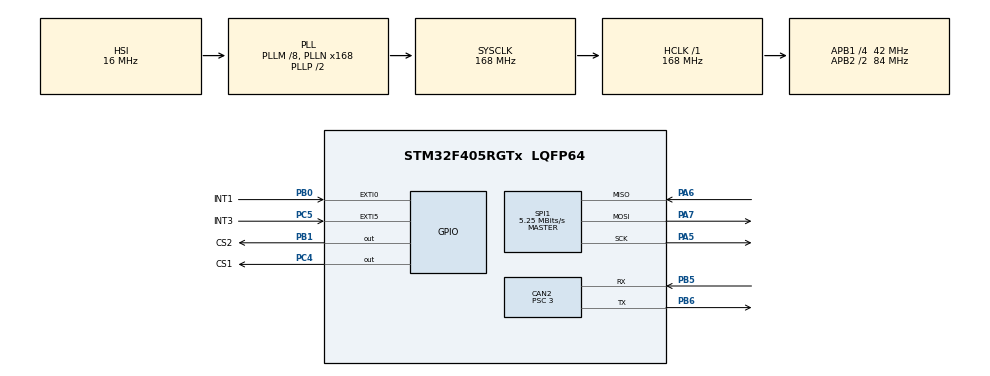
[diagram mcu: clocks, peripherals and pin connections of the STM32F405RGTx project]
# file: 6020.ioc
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CAN2.ABOM=ENABLE
CAN2.AWUM=ENABLE
CAN2.BS1=CAN_BS1_10TQ
CAN2.BS2=CAN_BS2_3TQ
CAN2.CalculateBaudRate=1000000
CAN2.CalculateTimeBit=1000
CAN2.CalculateTimeQuantum=71.42857142857143
CAN2.NART=ENABLE
CAN2.Prescaler=3
Dma.Request0=SPI1_RX
Dma.Request1=SPI1_TX
Dma.SPI1_RX.0.Direction=DMA_PERIPH_TO_MEMORY
Dma.SPI1_RX.0.FIFOMode=DMA_FIFOMODE_DISABLE
Dma.SPI1_RX.0.Instance=DMA2_Stream2
Dma.SPI1_RX.0.MemDataAlignment=DMA_MDATAALIGN_BYTE
Dma.SPI1_RX.0.MemInc=DMA_MINC_ENABLE
Dma.SPI1_RX.0.Mode=DMA_NORMAL
Dma.SPI1_RX.0.PeriphDataAlignment=DMA_PDATAALIGN_BYTE
Dma.SPI1_RX.0.PeriphInc=DMA_PINC_DISABLE
Dma.SPI1_RX.0.Priority=DMA_PRIORITY_VERY_HIGH
Dma.SPI1_TX.1.Direction=DMA_MEMORY_TO_PERIPH
Dma.SPI1_TX.1.FIFOMode=DMA_FIFOMODE_DISABLE
Dma.SPI1_TX.1.Instance=DMA2_Stream3
Dma.SPI1_TX.1.MemDataAlignment=DMA_MDATAALIGN_BYTE
Dma.SPI1_TX.1.MemInc=DMA_MINC_ENABLE
Dma.SPI1_TX.1.Mode=DMA_NORMAL
Dma.SPI1_TX.1.PeriphDataAlignment=DMA_PDATAALIGN_BYTE
Dma.SPI1_TX.1.PeriphInc=DMA_PINC_DISABLE
Dma.SPI1_TX.1.Priority=DMA_PRIORITY_HIGH
Mcu.Family=STM32F4
Mcu.Name=STM32F405RGTx
Mcu.Package=LQFP64
NVIC.CAN2_RX0_IRQn=true\:0\:0\:false\:false\:true\:true\:true\:true
NVIC.CAN2_TX_IRQn=true\:0\:0\:false\:false\:true\:true\:true\:true
NVIC.DMA2_Stream2_IRQn=true\:0\:0\:false\:false\:true\:false\:true\:true
NVIC.DMA2_Stream3_IRQn=true\:0\:0\:false\:false\:true\:false\:true\:true
NVIC.PriorityGroup=NVIC_PRIORITYGROUP_4
PA13.Mode=Serial_Wire
PA13.Signal=SYS_JTMS-SWDIO
PA14.Mode=Serial_Wire
PA14.Signal=SYS_JTCK-SWCLK
PA5.Mode=Full_Duplex_Master
PA5.Signal=SPI1_SCK
PA6.Mode=Full_Duplex_Master
PA6.Signal=SPI1_MISO
PA7.Mode=Full_Duplex_Master
PA7.Signal=SPI1_MOSI
PB0.GPIO_Label=INT1
PB0.GPIO_ModeDefaultEXTI=GPIO_MODE_IT_FALLING
PB0.GPIO_PuPd=GPIO_PULLUP
PB0.Signal=GPXTI0
PB1.GPIO_Label=CS2
PB1.GPIO_PuPd=GPIO_PULLUP
PB1.GPIO_Speed=GPIO_SPEED_FREQ_HIGH
PB1.PinState=GPIO_PIN_SET
PB1.Signal=GPIO_Output
PB5.Mode=CAN_Activate
PB5.Signal=CAN2_RX
PB6.Mode=CAN_Activate
PB6.Signal=CAN2_TX
PC4.GPIO_Label=CS1
PC4.GPIO_PuPd=GPIO_PULLUP
PC4.GPIO_Speed=GPIO_SPEED_FREQ_HIGH
PC4.PinState=GPIO_PIN_SET
PC4.Signal=GPIO_Output
PC5.GPIO_Label=INT3
PC5.GPIO_ModeDefaultEXTI=GPIO_MODE_IT_FALLING
PC5.GPIO_PuPd=GPIO_PULLUP
PC5.Signal=GPXTI5
PH0-OSC_IN.Mode=HSE-External-Oscillator
PH0-OSC_IN.Signal=RCC_OSC_IN
PH1-OSC_OUT.Mode=HSE-External-Oscillator
PH1-OSC_OUT.Signal=RCC_OSC_OUT
ProjectManager.HeapSize=0x200
ProjectManager.StackSize=0x400
ProjectManager.TargetToolchain=CMake
RCC.48MHZClocksFreq_Value=84000000
RCC.AHBFreq_Value=168000000
RCC.APB1CLKDivider=RCC_HCLK_DIV4
RCC.APB1Freq_Value=42000000
RCC.APB1TimFreq_Value=84000000
RCC.APB2CLKDivider=RCC_HCLK_DIV2
RCC.APB2Freq_Value=84000000
RCC.APB2TimFreq_Value=168000000
RCC.CortexFreq_Value=168000000
RCC.HCLKFreq_Value=168000000
RCC.HSE_VALUE=8000000
RCC.HSI_VALUE=16000000
RCC.LSE_VALUE=32768
RCC.PLLM=8
RCC.PLLN=168
RCC.SYSCLKFreq_VALUE=168000000
RCC.SYSCLKSource=RCC_SYSCLKSOURCE_PLLCLK
RCC.VCOOutputFreq_Value=336000000
SPI1.BaudRatePrescaler=SPI_BAUDRATEPRESCALER_16
SPI1.CLKPhase=SPI_PHASE_2EDGE
SPI1.CLKPolarity=SPI_POLARITY_HIGH
SPI1.CalculateBaudRate=5.25 MBits/s
SPI1.Direction=SPI_DIRECTION_2LINES
SPI1.Mode=SPI_MODE_MASTER
SPI1.VirtualType=VM_MASTER
board=custom

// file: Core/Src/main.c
/* USER CODE BEGIN Header */
/**
  ******************************************************************************
  * @file           : main.c
  * @brief          : Main program body
  ******************************************************************************
  * @attention
  *
  * Copyright (c) 2026 STMicroelectronics.
  * All rights reserved.
  *
  * This software is licensed under terms that can be found in the LICENSE file
  * in the root directory of this software component.
  * If no LICENSE file comes with this software, it is provided AS-IS.
  *
  ******************************************************************************
  */
/* USER CODE END Header */
#include "main.h"
#include "can.h"
#include "dma.h"
#include "spi.h"
#include "gpio.h"

/* USER CODE BEGIN Includes */

#include "stdio.h"
#include "stdarg.h"
#include "math.h"
#include "bsp_can.h"
#include "module_pid.h"
#include "BMI088driver.h"
#include "MahonyAHRS.h"
#include "AKF.h"   /* Gyro_AKF_HandleTypeDef / Gyro_AKF_Init / Gyro_AKF_Update */
#include "Config.h"     /* ParticleFilter_t / pf_* */

/* USER CODE END Includes */

/* USER CODE BEGIN PM */

extern moto_info_t motor_info[MOTOR_MAX_NUM];

#define OPEN_LOOP_TEST    0
#define OPEN_LOOP_VOLTAGE 5000

/* ===== 电机索引 ===================================================== */
#define MOTOR2_IDX  2   /* Yaw 轴 */
#define MOTOR4_IDX  4   /* Pitch 轴 */

/* ===== IMU 参数 ===================================================== */
/*
 *  GYRO_CALIB_MS      上电静止校准时长（ms）
 *                     校准期间同时用 Welford 算法在线计算三轴方差，
 *                     作为 AKF 的量测噪声方差 R0，无需手动填写。
 *  ACCEL_VALID_MIN/MAX 加速度幅值门限（m/s²）
 *                     超出范围时跳过加速度纠正，避免振动/冲击干扰。
 */
#define GYRO_CALIB_MS    2000    /* 2 秒 = 200 次采样（10ms/次）*/
#define ACCEL_VALID_MIN   5.0f  /* 约 0.82g */
#define ACCEL_VALID_MAX  15.0f  /* 约 1.12g */

/* ===== AKF 初始化参数 =============================================== */
/*
 *  AKF_P0   初始协方差（推荐 1.0）
 *  AKF_Q0   初始系统噪声方差（后续自适应，初值影响不大）
 *  R0 由校准阶段 Welford 在线计算，无需手动设置
 */
#define AKF_P0  1.0f
#define AKF_Q0  1e-7f

/* ===== 粒子滤波参数 ================================================= */
/*
 *  PF_NEFF_THRESH   有效粒子数阈值，低于此值触发重采样
 *                   推荐 PF_PARTICLE_NUM / 2
 */
#define PF_NEFF_THRESH  (PF_PARTICLE_NUM / 2.0f)

/* ===== 正弦扫描参数 ================================================= */
#define SCAN_AMP       30.0f
#define SCAN_FREQ       0.1f
#define SPEED_FF_GAIN   1.0f
#define HOMING_SPEED   20.0f
#define HOMING_THRESH   3.0f

/* ===== 归零参数 =====================================================
 *
 *  RTZ_PITCH_THRESH  Pitch 到位门限（°），IMU pitch 误差小于此值视为到位
 *  RTZ_YAW_THRESH    Yaw   到位门限（°），IMU yaw  误差小于此值视为到位
 *
 *  RTZ_PITCH_SPD_MAX 外环输出限幅（°/s），决定 Pitch 归零最大速度
 *  RTZ_YAW_SPD_MAX   外环输出限幅（°/s），决定 Yaw   归零最大速度
 *                    调小此值可以让归零过程更缓慢，推荐 20~50 °/s
 *
 *  两轴均以 IMU 输出为反馈，目标均为 0°：
 *    Pitch（MOTOR4）→ IMU pitch = 0°（真实水平）
 *    Yaw  （MOTOR2）→ IMU yaw   = 0°（上电校准时的正前方方向）
 *
 *  归零到位后重新记录编码器零点，使扫描段基准与归零位置对齐。
 * ================================================================== */
#define RTZ_PITCH_THRESH   2.0f
#define RTZ_YAW_THRESH     2.0f
#define RTZ_PITCH_SPD_MAX 30.0f   /* °/s，调小可更缓慢 */
#define RTZ_YAW_SPD_MAX   30.0f   /* °/s，调小可更缓慢 */

/* ===== PID 参数 ===================================================== */
#define ANGLE_KP        10.0f
#define ANGLE_KI        0.05f
#define ANGLE_KD        0.4f
#define ANGLE_I_MAX    40.0f
#define ANGLE_OUT_MAX 250.0f

#define SPEED_KP      100.0f
#define SPEED_KI        0.5f
#define SPEED_KD        0.3f
#define SPEED_I_MAX  4000.0f
#define SPEED_OUT_MAX 10000.0f//25000

#define LPF_ALPHA  0.8f

/* 每个电机独立的 PID */
pid_struct_t angle_pid2, angle_pid4;
pid_struct_t speed_pid2, speed_pid4;

/* ===== 控制状态机 ===================================================
 *
 *  STATE_RTZ     上电归零：
 *                  Pitch（MOTOR4）用 IMU pitch 闭环到 0°（真实水平）
 *                  Yaw  （MOTOR2）用 IMU yaw   闭环到 0°（上电正前方）
 *                  外环输出限幅为 RTZ_*_SPD_MAX，保证缓慢运动
 *                  两轴均到位后清空 PID 积分，重记编码器零点，
 *                  切换到 STATE_HOMING
 *
 *  STATE_HOMING  归位：虚拟目标 prof_pos 缓慢收敛到 0，编码器跟随
 *
 *  STATE_SCAN    扫描：正弦轨迹
 *
 *  dbg_state：0=归零  1=归位  2=扫描
 * ================================================================== */
typedef enum {
  STATE_RTZ    = 0,
  STATE_HOMING = 1,
  STATE_SCAN   = 2
} ctrl_state_t;

ctrl_state_t ctrl_state = STATE_RTZ;   /* 全局唯一状态，两轴共用 */

float prof_pos   = 0.0f;
float scan_phase = 0.0f;
float dbg_spd_ff = 0.0f;

float filtered_spd2 = 0.0f;
float filtered_spd4 = 0.0f;

uint16_t zero_enc2 = 0;
uint16_t zero_enc4 = 0;

/* ===== Ozone 观测变量 ===============================================
 *
 *  电机相关：
 *    dbg_angle2 / dbg_angle4      当前编码器角度（°）
 *    dbg_prof                     虚拟目标（扫描段）
 *    dbg_err2 / dbg_err4          外环误差
 *    dbg_voltage2 / dbg_voltage4  输出电压
 *    dbg_state                    0=归零  1=归位  2=扫描
 *
 *  BMI088 原始读出（BMI088_read 直接输出，未做任何处理）：
 *    dbg_gyro_x/y/z               rad/s
 *    dbg_accel_x/y/z              m/s²
 *    dbg_temp                     °C
 *    dbg_imu_error                0=初始化正常
 *
 *  AKF 滤波后陀螺仪（与原始值对比用）：
 *    dbg_gx_akf / dbg_gy_akf / dbg_gz_akf    rad/s
 *
 *  Mahony 输出（PF 之前，用于对比）：
 *    dbg_roll_mahony / dbg_pitch_mahony        °
 *    dbg_yaw                                   °（不经 PF，直接输出）
 *
 *  偏置补偿后最终输出（接入控制用此值）：
 *    dbg_pitch / dbg_roll                      °
 *
 *  校准信息：
 *    dbg_calib_samples            已采集样本数
 *    dbg_r0_gx / dbg_r0_gy / dbg_r0_gz   AKF 三轴 R0（方差）
 *
 *  安装偏置（校准结束时自动记录，Ozone 可观测）：
 *    dbg_pitch_offset / dbg_roll_offset        °
 *
 * ================================================================== */
volatile float   dbg_angle2       = 0.0f;
volatile float   dbg_angle4       = 0.0f;
volatile float   dbg_prof         = 0.0f;
volatile float   dbg_err2         = 0.0f;
volatile float   dbg_err4         = 0.0f;
volatile float   dbg_voltage2     = 0.0f;
volatile float   dbg_voltage4     = 0.0f;
volatile int     dbg_state        = 0;

volatile fp32    dbg_gyro_x       = 0.0f;
volatile fp32    dbg_gyro_y       = 0.0f;
volatile fp32    dbg_gyro_z       = 0.0f;
volatile fp32    dbg_accel_x      = 0.0f;
volatile fp32    dbg_accel_y      = 0.0f;
volatile fp32    dbg_accel_z      = 0.0f;
volatile fp32    dbg_temp         = 0.0f;
volatile uint8_t dbg_imu_error    = 0;

volatile float   dbg_gx_akf       = 0.0f;
volatile float   dbg_gy_akf       = 0.0f;
volatile float   dbg_gz_akf       = 0.0f;

volatile float   dbg_roll_mahony  = 0.0f;
volatile float   dbg_pitch_mahony = 0.0f;
volatile float   dbg_roll         = 0.0f;
volatile float   dbg_pitch        = 0.0f;
volatile float   dbg_yaw          = 0.0f;

volatile int     dbg_calib_samples = 0;
volatile float   dbg_r0_gx        = 0.0f;
volatile float   dbg_r0_gy        = 0.0f;
volatile float   dbg_r0_gz        = 0.0f;

/* 安装偏置（校准结束时自动记录，Ozone 可观测验证） */
volatile float   dbg_pitch_offset = 0.0f;
volatile float   dbg_roll_offset  = 0.0f;

/* 陀螺仪零偏（校准均值） */
float gyro_bias[3] = {0.0f, 0.0f, 0.0f};

volatile int imu_calib_done = 0;

/* ===== IMU 安装偏置（校准结束时由加速度计自动计算）================= */
/*
 *  上电时云台停在编码器零点，校准结束后记录此刻 IMU 输出的 pitch/roll，
 *  运行段每帧减掉，使 IMU 零点与编码器零点对齐。
 *  无需手动填写，每次上电自动更新。
 */
float imu_pitch_offset = 0.0f;
float imu_roll_offset  = 0.0f;

/* ===== AKF 实例（三轴各一个）======================================= */
Gyro_AKF_HandleTypeDef akf_gx, akf_gy, akf_gz;

/* ===== 粒子滤波实例 ================================================= */
ParticleFilter_t pf;

/* USER CODE END PM */

void SystemClock_Config(void);

/* USER CODE BEGIN 0 */

/* 编码器原始值 → 角度（以各自零点为 0°） */
float enc_to_angle(uint16_t enc, uint16_t zero)
{
  int32_t diff = (int32_t)enc - (int32_t)zero;
  if      (diff >  4096) diff -= 8192;
  else if (diff < -4096) diff += 8192;
  return (float)diff * 360.0f / 8192.0f;
}

/* 角度误差计算（处理 ±180° 翻转） */
float angle_err_calc(float target, float current)
{
  float e = target - current;
  if      (e >  180.0f) e -= 360.0f;
  else if (e < -180.0f) e += 360.0f;
  return e;
}

/* USER CODE END 0 */

int main(void)
{

  /* MCU Configuration -------------------------------------------------------*/

  HAL_Init();

  SystemClock_Config();

  MX_GPIO_Init();
  MX_DMA_Init();
  MX_CAN2_Init();
  MX_SPI1_Init();

  /* USER CODE BEGIN 2 */

  can_user_init(&hcan2);

  pid_init(&angle_pid2, ANGLE_KP, ANGLE_KI, ANGLE_KD, ANGLE_I_MAX, ANGLE_OUT_MAX);
  pid_init(&speed_pid2, SPEED_KP, SPEED_KI, SPEED_KD, SPEED_I_MAX, SPEED_OUT_MAX);
  pid_init(&angle_pid4, ANGLE_KP, ANGLE_KI, ANGLE_KD, ANGLE_I_MAX, ANGLE_OUT_MAX);
  pid_init(&speed_pid4, SPEED_KP, SPEED_KI, SPEED_KD, SPEED_I_MAX, SPEED_OUT_MAX);

  /* BMI088 初始化 */
  dbg_imu_error = BMI088_init();

  /* 等第一帧 CAN 数据到达 */
  HAL_Delay(100);

  /* 记录电机上电零点 */
  zero_enc2     = motor_info[MOTOR2_IDX].rotor_angle;
  zero_enc4     = motor_info[MOTOR4_IDX].rotor_angle;
  prof_pos      = 0.0f;
  filtered_spd2 = (float)motor_info[MOTOR2_IDX].rotor_speed;
  filtered_spd4 = (float)motor_info[MOTOR4_IDX].rotor_speed;

  /* USER CODE END 2 */

  /* Infinite loop */
  /* USER CODE BEGIN WHILE */

  /* Mahony 四元数初始值：单位四元数，表示无旋转（w,x,y,z） */
  float q[4] = {1.0f, 0.0f, 0.0f, 0.0f};

  /* PF 首帧初始化标志（等 Mahony 收敛后再初始化） */
  uint8_t pf_initialized = 0;

  while (1)
  {
    /* USER CODE END WHILE */

    /* USER CODE BEGIN 3 */

    static uint32_t last_tick = 0;
    if (HAL_GetTick() - last_tick >= 10)   /* 10ms = 100Hz，与 MahonyAHRS.c sampleFreq 一致 */
    {
      last_tick = HAL_GetTick();

      const float dt = 0.01f;

      /* ---------------------------------------------------------------- */
      /* 1. BMI088 读取                                                    */
      /* ---------------------------------------------------------------- */
      fp32 gyro[3], accel[3], temp;
      BMI088_read(gyro, accel, &temp);

      /* 原始数据挂 Ozone（未做任何处理） */
      dbg_gyro_x  = gyro[0];
      dbg_gyro_y  = gyro[1];
      dbg_gyro_z  = gyro[2];
      dbg_accel_x = accel[0];
      dbg_accel_y = accel[1];
      dbg_accel_z = accel[2];
      dbg_temp    = temp;

      /* ---------------------------------------------------------------- */
      /* 2. 上电校准（前 GYRO_CALIB_MS ms 静止）                          */
      /*    a) Welford 在线方差 → 三轴 R0（AKF 量测噪声）                 */
      /*    b) 零偏均值（200 次 double 累加）                              */
      /*    c) 校准结束：初始化三个 AKF，用加速度计均值初始化 Mahony 四元数*/
      /*       使 Mahony 从真实姿态出发积分，后续输出即为真实绝对角度      */
      /*    d) 校准结束：记录此刻欧拉角作为安装偏置，运行段减掉            */
      /*       前提：上电时云台停在编码器零点位置                          */
      /* ---------------------------------------------------------------- */
      if (!imu_calib_done)
      {
        /* 静态局部变量：整个校准期间持久化 */
        static double bias_sum[3]  = {0.0, 0.0, 0.0};  /* 陀螺零偏累加 */
        static double wf_mean[3]   = {0.0, 0.0, 0.0};  /* Welford 均值 */
        static double wf_M2[3]     = {0.0, 0.0, 0.0};  /* Welford 离均差平方和 */
        static double accel_sum[3] = {0.0, 0.0, 0.0};  /* 加速度计累加（用于初始化四元数）*/
        static int    calib_cnt    = 0;
        const  int    calib_total  = GYRO_CALIB_MS / 10; /* 200 次 */

        /* ---- a) 陀螺零偏累加 ---- */
        bias_sum[0] += (double)gyro[0];
        bias_sum[1] += (double)gyro[1];
        bias_sum[2] += (double)gyro[2];

        /* ---- b) 加速度计累加（用于校准结束时初始化 Mahony 四元数）---- */
        accel_sum[0] += (double)accel[0];
        accel_sum[1] += (double)accel[1];
        accel_sum[2] += (double)accel[2];

        /* ---- c) Welford 在线方差更新（三轴独立）→ AKF 的 R0 ---- */
        calib_cnt++;
        for (int axis = 0; axis < 3; axis++)
        {
          double val   = (double)gyro[axis];
          double delta = val - wf_mean[axis];
          wf_mean[axis] += delta / calib_cnt;
          double delta2  = val - wf_mean[axis];
          wf_M2[axis]   += delta * delta2;
        }

        dbg_calib_samples = calib_cnt;

        if (calib_cnt >= calib_total)
        {
          /* ---- 陀螺零偏均值 ---- */
          gyro_bias[0] = (float)(bias_sum[0] / calib_cnt);
          gyro_bias[1] = (float)(bias_sum[1] / calib_cnt);
          gyro_bias[2] = (float)(bias_sum[2] / calib_cnt);

          /* ---- 三轴 R0（无偏方差）---- */
          float r0_gx = (calib_cnt > 1) ? (float)(wf_M2[0] / (calib_cnt - 1)) : 1e-8f;
          float r0_gy = (calib_cnt > 1) ? (float)(wf_M2[1] / (calib_cnt - 1)) : 1e-8f;
          float r0_gz = (calib_cnt > 1) ? (float)(wf_M2[2] / (calib_cnt - 1)) : 1e-8f;
          /* 防止 R0 为 0，否则 AKF 增益变 1，退化为纯跟随 */
          if (r0_gx < 1e-10f) r0_gx = 1e-10f;
          if (r0_gy < 1e-10f) r0_gy = 1e-10f;
          if (r0_gz < 1e-10f) r0_gz = 1e-10f;

          dbg_r0_gx = r0_gx;
          dbg_r0_gy = r0_gy;
          dbg_r0_gz = r0_gz;

          /* ---- 初始化三个 AKF，x0 填零偏均值 ---- */
          Gyro_AKF_Init(&akf_gx, gyro_bias[0], AKF_P0, AKF_Q0, r0_gx);
          Gyro_AKF_Init(&akf_gy, gyro_bias[1], AKF_P0, AKF_Q0, r0_gy);
          Gyro_AKF_Init(&akf_gz, gyro_bias[2], AKF_P0, AKF_Q0, r0_gz);

          /* ---- 用加速度计 200 次均值初始化 Mahony 四元数 ---- */
          /*
           *  原理：校准期间设备静止，加速度计均值即为重力向量在机体系的投影。
           *  将此重力向量对应的姿态"写入"初始四元数，Mahony 从真实姿态出发
           *  积分，后续输出的欧拉角即为相对重力方向的绝对真实角度，
           *  而非相对上电时刻的相对角度。
           */
          float ax_mean = (float)(accel_sum[0] / calib_cnt);
          float ay_mean = (float)(accel_sum[1] / calib_cnt);
          float az_mean = (float)(accel_sum[2] / calib_cnt);

          /* 归一化到单位向量 */
          float a_norm = sqrtf(ax_mean*ax_mean + ay_mean*ay_mean + az_mean*az_mean);
          if (a_norm > 0.1f)
          {
            ax_mean /= a_norm;
            ay_mean /= a_norm;
            az_mean /= a_norm;
          }

          /* 由重力方向直接计算 roll/pitch 安装偏移
           * 轴映射：与正常运行段一致（pitch/roll 已对调），此处索引对调保持一致 */
          float roll_offset  = atan2f(ay_mean, az_mean);          /* 对调后 → roll  */
          float sin_p0       = -ax_mean;
          if      (sin_p0 >  1.0f) sin_p0 =  1.0f;
          else if (sin_p0 < -1.0f) sin_p0 = -1.0f;
          float pitch_offset = asinf(sin_p0);                     /* 对调后 → pitch */

          /* 用安装偏移构造初始四元数（ZYX，Yaw=0）
           * Yaw=0 即为上电时的正前方方向，归零段 yaw_m=0 即回到此方向 */
          {
            float cr = cosf(roll_offset  * 0.5f);
            float sr = sinf(roll_offset  * 0.5f);
            float cp = cosf(pitch_offset * 0.5f);
            float sp = sinf(pitch_offset * 0.5f);
            q[0] =  cr * cp;
            q[1] =  sr * cp;
            q[2] =  cr * sp;
            q[3] = -sr * sp;
          }

          /* ---- d) 记录安装偏置 ----------------------------------------
           *
           *  初始四元数已写入，此刻做一次欧拉角正解，得到 IMU 在当前安装
           *  姿态下的 pitch/roll 输出值，即为安装偏置。
           *  运行段每帧减掉，使 IMU 零点与编码器零点自动对齐。
           *  前提：上电时云台停在编码器零点。
           * ---------------------------------------------------------------- */
          {
            float sin_p = 2.0f * (q[0]*q[2] - q[3]*q[1]);
            if      (sin_p >  1.0f) sin_p =  1.0f;
            else if (sin_p < -1.0f) sin_p = -1.0f;

            float r0 = atan2f(2.0f*(q[0]*q[1]+q[2]*q[3]),
                              1.0f-2.0f*(q[1]*q[1]+q[2]*q[2])) * rad_to_angle;
            float p0 = asinf(sin_p) * rad_to_angle;

            /* pitch/roll 轴互换，与运行段保持一致 */
            float tmp = r0; r0 = p0; p0 = tmp;

            imu_pitch_offset = p0;
            imu_roll_offset  = r0;

            /* 挂 Ozone，便于验证偏置是否合理 */
            dbg_pitch_offset = imu_pitch_offset;
            dbg_roll_offset  = imu_roll_offset;
          }

          imu_calib_done = 1;
          /* 校准结束后进入归零阶段，ctrl_state 已初始化为 STATE_RTZ */
          /* pf_initialized 仍为 0，下一帧正常运行时再初始化 PF */
        }

        /* 校准期间跳过 IMU 更新和电机控制 */
        continue;
      }

      /* ---------------------------------------------------------------- */
      /* 3. 正常运行：AKF → 零偏补偿 → Mahony → 欧拉角 → PF            */
      /* ---------------------------------------------------------------- */

      /* ---- 3a. Gyro_AKF 滤波（原始域，减零偏之前）
       *          先 AKF 滤除随机噪声，再减静态零偏
       *          gz 不经 AKF 直接透传，避免动态旋转时幅值被压缩         */
      float gx_akf = Gyro_AKF_Update(&akf_gx, gyro[0]);
      float gy_akf = Gyro_AKF_Update(&akf_gy, gyro[1]);
      float gz_akf = gyro[2];   /* gz 不经 AKF，直接透传 */

      dbg_gx_akf = gx_akf;
      dbg_gy_akf = gy_akf;
      dbg_gz_akf = gz_akf;

      /* ---- 3b. 减零偏（不做轴交换，与加速度计保持一致）---- */
      float gx = gx_akf - gyro_bias[0];   /* Mahony gx ← BMI088 gyroX（AKF后） */
      float gy = gy_akf - gyro_bias[1];   /* Mahony gy ← BMI088 gyroY（AKF后） */
      float gz = gz_akf - gyro_bias[2];   /* Mahony gz ← BMI088 gyroZ */

      /* ---- 3c. 加速度幅值门限：接近 1g 才参与姿态纠正 ---- */
      float accel_norm = sqrtf(accel[0]*accel[0] + accel[1]*accel[1] + accel[2]*accel[2]);
      float ax, ay, az;
      if (accel_norm >= ACCEL_VALID_MIN && accel_norm <= ACCEL_VALID_MAX)
      {
        ax = accel[0];   /* Mahony ax ← BMI088 accelX */
        ay = accel[1];   /* Mahony ay ← BMI088 accelY */
        az = accel[2];
      }
      else
      {
        /* 幅值异常（有线性加速度/冲击），传入全零让 Mahony 跳过加速度纠正 */
        ax = 0.0f; ay = 0.0f; az = 0.0f;
      }

      /* ---- 3b_yaw. Yaw 轴 ZUPT：静止时估计 gz 残余零偏并实时补偿 -------
       *
       *  无磁力计时 yaw 靠陀螺 Z 轴积分，校准后仍有残余零偏导致 yaw 漂移。
       *  静止时 gz 理论为 0，实测值即残余零偏，用 PI 估计器慢慢收敛并减掉，
       *  直接作用在送入 Mahony 的 gz 上，四元数本身不再积累漂移。
       *
       *  参数：
       *    YAW_STATIC_THR   静止判断阈值（rad/s），推荐 0.03（≈1.7°/s）
       *    YAW_ZUPT_KP      比例增益，推荐 0.02
       *    YAW_ZUPT_KI      积分增益，推荐 0.001
       *    YAW_BIAS_MAX     零偏估计限幅（rad/s），推荐 0.05
       * ----------------------------------------------------------------- */
      #define YAW_STATIC_THR  0.1f
      #define YAW_ZUPT_KP     0.5f
      #define YAW_ZUPT_KI     0.05f
      #define YAW_BIAS_MAX    0.1f

      {
        /* 静止判断：AKF 后减零偏的三轴合矢量 */
        float gyro_sq = gx*gx + gy*gy + gz*gz;
        uint8_t yaw_static = (gyro_sq < (YAW_STATIC_THR * YAW_STATIC_THR));

        static float yaw_drift_bias = 0.0f;  /* gz 残余零偏估计（rad/s）*/
        static float yaw_drift_intg = 0.0f;  /* 积分项 */

        if (yaw_static)
        {
          /* 静止时 gz 残差即为零偏估计误差 */
          float gz_err       = gz - yaw_drift_bias;
          yaw_drift_intg    += YAW_ZUPT_KI * gz_err * dt;
          if      (yaw_drift_intg >  YAW_BIAS_MAX) yaw_drift_intg =  YAW_BIAS_MAX;
          else if (yaw_drift_intg < -YAW_BIAS_MAX) yaw_drift_intg = -YAW_BIAS_MAX;
          yaw_drift_bias     = YAW_ZUPT_KP * gz + yaw_drift_intg;
          if      (yaw_drift_bias >  YAW_BIAS_MAX) yaw_drift_bias =  YAW_BIAS_MAX;
          else if (yaw_drift_bias < -YAW_BIAS_MAX) yaw_drift_bias = -YAW_BIAS_MAX;
        }

        /* 从 gz 中减去估计的残余零偏，送入 Mahony 的陀螺不再漂移 */
        gz -= yaw_drift_bias;
      }

      /* ---- 3d. Mahony 姿态融合 ---- */
      MahonyAHRSupdateIMU(q, gx, gy, gz, ax, ay, az);

      /* ---- 3e. 四元数 → 欧拉角（ZYX，°，-180~+180）---- */
      float roll_m, pitch_m, yaw_m;
      {
        float sin_p = 2.0f * (q[0]*q[2] - q[3]*q[1]);
        if      (sin_p >  1.0f) sin_p =  1.0f;
        else if (sin_p < -1.0f) sin_p = -1.0f;

        roll_m  = atan2f(2.0f*(q[0]*q[1]+q[2]*q[3]),
                         1.0f-2.0f*(q[1]*q[1]+q[2]*q[2])) * rad_to_angle;
        pitch_m = asinf(sin_p) * rad_to_angle;
        yaw_m   = -atan2f(2.0f*(q[0]*q[3]+q[1]*q[2]),
                          1.0f-2.0f*(q[2]*q[2]+q[3]*q[3])) * rad_to_angle;

        /* pitch/roll 物理轴互换（安装方向决定）*/
        float tmp = roll_m;
        roll_m  = pitch_m;
        pitch_m = tmp;

        /* 归一化到 [-180, +180) */
        if      (roll_m  >  180.0f) roll_m  -= 360.0f;
        else if (roll_m  < -180.0f) roll_m  += 360.0f;
        if      (pitch_m >   90.0f) pitch_m  =  90.0f;
        else if (pitch_m <  -90.0f) pitch_m  = -90.0f;
        if      (yaw_m   >  180.0f) yaw_m   -= 360.0f;
        else if (yaw_m   < -180.0f) yaw_m   += 360.0f;
      }

      /* Mahony 直接输出挂 Ozone（安装偏置补偿之前，用于对比）*/
      dbg_roll_mahony  = roll_m;
      dbg_pitch_mahony = pitch_m;
      /* yaw_m 不做偏置补偿，校准时 Yaw 初始四元数已置为 0，
       * yaw_m = 0 即为上电时的正前方方向，直接用于归零控制 */
      dbg_yaw = yaw_m;

      /* ---- 3e_offset. Pitch/Roll 安装偏置补偿 -------------------------
       *
       *  上电校准结束时记录的 imu_pitch_offset / imu_roll_offset，
       *  即为云台在编码器零点时 IMU 的输出值。
       *  减掉后 IMU 零点与编码器零点自动对齐，无需手动填数。
       *  Yaw 不做此补偿，校准时四元数初始 Yaw=0 已是绝对零点。
       * ----------------------------------------------------------------- */
      pitch_m -= imu_pitch_offset;
      roll_m  -= imu_roll_offset;

      /* 补偿后重新归一化 */
      if      (pitch_m >  90.0f) pitch_m =  90.0f;
      else if (pitch_m < -90.0f) pitch_m = -90.0f;
      if      (roll_m  >  180.0f) roll_m -= 360.0f;
      else if (roll_m  < -180.0f) roll_m += 360.0f;

      /* ---- 3f. 粒子滤波（Pitch / Roll）---- */
      if (!pf_initialized)
      {
        /* 首次进入正常运行：用 Mahony 当前输出初始化 PF */
        pf_init(&pf, pitch_m, roll_m);
        pf_initialized = 1;
      }
      else
      {
        /* 预测：粒子加过程噪声 */
        pf_predict(&pf);

        /* 更新：用 Mahony 欧拉角作为观测量 */
        pf_update(&pf, pitch_m, roll_m);

        /* 有效粒子数检测，退化则重采样 */
        float neff = pf_calculate_neff(&pf);
        if (neff < PF_NEFF_THRESH)
        {
          pf_resample(&pf);
        }

        /* 加权均值估计 → pf.state_est_deg[] */
        pf_estimate(&pf);
      }

      /* PF 最终输出挂 Ozone（暂时旁路 PF，直接用 Mahony 输出）*/
      dbg_pitch = pitch_m;
      dbg_roll  = roll_m;

      /* ---------------------------------------------------------------- */
      /* 4. 电机控制                                                       */
      /* ---------------------------------------------------------------- */

#if OPEN_LOOP_TEST
      set_motor_voltage(0, 0, (int16_t)OPEN_LOOP_VOLTAGE,
                              0,
                              (int16_t)OPEN_LOOP_VOLTAGE);
#else
      /* 读取两个电机反馈 */
      dbg_angle2 = enc_to_angle(motor_info[MOTOR2_IDX].rotor_angle, zero_enc2);
      dbg_angle4 = enc_to_angle(motor_info[MOTOR4_IDX].rotor_angle, zero_enc4);

      float spd2 = (float)motor_info[MOTOR2_IDX].rotor_speed;
      float spd4 = (float)motor_info[MOTOR4_IDX].rotor_speed;

      filtered_spd2 = LPF_ALPHA * spd2 + (1.0f - LPF_ALPHA) * filtered_spd2;
      filtered_spd4 = LPF_ALPHA * spd4 + (1.0f - LPF_ALPHA) * filtered_spd4;

      dbg_state = (int)ctrl_state;

      /* ================================================================ */
      /* 状态机                                                            */
      /* ================================================================ */

      if (ctrl_state == STATE_RTZ)
      {
        /* ---- STATE_RTZ：缓慢归零 --------------------------------------
         *
         *  Pitch（MOTOR4）：IMU pitch 闭环，目标 0°（真实水平）
         *  Yaw  （MOTOR2）：IMU yaw   闭环，目标 0°（上电正前方）
         *
         *  缓慢由外环输出限幅 RTZ_*_SPD_MAX 保证，PID 计算出的速度目标
         *  被钳位在此范围内，内环（速度环）再跟随，运动自然缓慢平滑。
         *  调小 RTZ_PITCH_SPD_MAX / RTZ_YAW_SPD_MAX 可进一步降低速度。
         *
         *  两轴 IMU 误差均小于门限后：
         *    1. 清空两轴 PID 积分
         *    2. 重新记录编码器零点（使扫描段基准与归零位置对齐）
         *    3. 切换到 STATE_HOMING
         * -------------------------------------------------------------- */

        /* ---- Pitch 外环：IMU pitch 闭环，目标 0° ---- */
        dbg_err4          = angle_err_calc(0.0f, dbg_pitch);
        angle_pid4.err[1] = angle_pid4.err[0];
        angle_pid4.err[0] = dbg_err4;
        angle_pid4.p_out  = angle_pid4.kp * angle_pid4.err[0];
        angle_pid4.i_out += angle_pid4.ki * angle_pid4.err[0];
        LIMIT_MIN_MAX(angle_pid4.i_out, -angle_pid4.i_max, angle_pid4.i_max);
        angle_pid4.d_out  = angle_pid4.kd * (angle_pid4.err[0] - angle_pid4.err[1]);
        float rtz_spd4    = angle_pid4.p_out + angle_pid4.i_out + angle_pid4.d_out;
        LIMIT_MIN_MAX(rtz_spd4, -RTZ_PITCH_SPD_MAX, RTZ_PITCH_SPD_MAX);  /* 限速 → 缓慢 */

        /* ---- Pitch 内环：速度环 ---- */
        {
          float spd_err4    = rtz_spd4 - filtered_spd4;
          speed_pid4.err[1] = speed_pid4.err[0];
          speed_pid4.err[0] = spd_err4;
          speed_pid4.p_out  = speed_pid4.kp * speed_pid4.err[0];
          speed_pid4.i_out += speed_pid4.ki * speed_pid4.err[0];
          LIMIT_MIN_MAX(speed_pid4.i_out, -speed_pid4.i_max, speed_pid4.i_max);
          speed_pid4.d_out  = speed_pid4.kd * (speed_pid4.err[0] - speed_pid4.err[1]);
          dbg_voltage4      = speed_pid4.p_out + speed_pid4.i_out + speed_pid4.d_out;
          LIMIT_MIN_MAX(dbg_voltage4, -speed_pid4.out_max, speed_pid4.out_max);
        }

        /* ---- Yaw 外环：IMU yaw 闭环，目标 0°（上电正前方）---- */
        dbg_err2          = angle_err_calc(0.0f, yaw_m);
        angle_pid2.err[1] = angle_pid2.err[0];
        angle_pid2.err[0] = dbg_err2;
        angle_pid2.p_out  = angle_pid2.kp * angle_pid2.err[0];
        angle_pid2.i_out += angle_pid2.ki * angle_pid2.err[0];
        LIMIT_MIN_MAX(angle_pid2.i_out, -angle_pid2.i_max, angle_pid2.i_max);
        angle_pid2.d_out  = angle_pid2.kd * (angle_pid2.err[0] - angle_pid2.err[1]);
        float rtz_spd2    = angle_pid2.p_out + angle_pid2.i_out + angle_pid2.d_out;
        LIMIT_MIN_MAX(rtz_spd2, -RTZ_YAW_SPD_MAX, RTZ_YAW_SPD_MAX);     /* 限速 → 缓慢 */

        /* ---- Yaw 内环：速度环 ---- */
        {
          float spd_err2    = rtz_spd2 - filtered_spd2;
          speed_pid2.err[1] = speed_pid2.err[0];
          speed_pid2.err[0] = spd_err2;
          speed_pid2.p_out  = speed_pid2.kp * speed_pid2.err[0];
          speed_pid2.i_out += speed_pid2.ki * speed_pid2.err[0];
          LIMIT_MIN_MAX(speed_pid2.i_out, -speed_pid2.i_max, speed_pid2.i_max);
          speed_pid2.d_out  = speed_pid2.kd * (speed_pid2.err[0] - speed_pid2.err[1]);
          dbg_voltage2      = speed_pid2.p_out + speed_pid2.i_out + speed_pid2.d_out;
          LIMIT_MIN_MAX(dbg_voltage2, -speed_pid2.out_max, speed_pid2.out_max);
        }

        /* ---- 到位检测：两轴 IMU 误差均小于门限则切状态 ---- */
        uint8_t pitch_ok = (fabsf(dbg_pitch) < RTZ_PITCH_THRESH);
        uint8_t yaw_ok   = (fabsf(yaw_m)     < RTZ_YAW_THRESH);

        if (pitch_ok && yaw_ok)
        {
          /* 清空两轴 PID 积分，防止残余积分在后续段引起冲击 */
          angle_pid2.i_out = 0.0f; speed_pid2.i_out = 0.0f;
          angle_pid4.i_out = 0.0f; speed_pid4.i_out = 0.0f;
          /* 归零到位后重新记录编码器零点，使扫描段基准与当前位置对齐 */
          zero_enc2  = motor_info[MOTOR2_IDX].rotor_angle;
          zero_enc4  = motor_info[MOTOR4_IDX].rotor_angle;
          prof_pos   = 0.0f;
          scan_phase = 0.0f;
          ctrl_state = STATE_HOMING;
        }
      }
      else if (ctrl_state == STATE_HOMING)
      {
        /* ---- STATE_HOMING：归位 ----------------------------------------
         *
         *  归零完成后编码器已重新归零，prof_pos=0，两轴编码器误差理论为 0，
         *  此段仅做稳定性过渡，确认误差后立即切换到 STATE_SCAN。
         * -------------------------------------------------------------- */
        float step = HOMING_SPEED * dt;
        float diff = angle_err_calc(0.0f, prof_pos);
        if      (diff >  step) prof_pos += step;
        else if (diff < -step) prof_pos -= step;
        else                   prof_pos  = 0.0f;

        uint8_t pitch_homed = (fabsf(angle_err_calc(0.0f, dbg_angle4)) < HOMING_THRESH);
        uint8_t yaw_homed   = (fabsf(angle_err_calc(0.0f, dbg_angle2)) < HOMING_THRESH);

        if (pitch_homed && yaw_homed)
          ctrl_state = STATE_SCAN;

        /* ---- ID2 PID（编码器闭环）---- */
        {
          dbg_err2          = angle_err_calc(-prof_pos, dbg_angle2);
          angle_pid2.err[1] = angle_pid2.err[0];
          angle_pid2.err[0] = dbg_err2;
          angle_pid2.p_out  = angle_pid2.kp * angle_pid2.err[0];
          angle_pid2.i_out += angle_pid2.ki * angle_pid2.err[0];
          LIMIT_MIN_MAX(angle_pid2.i_out, -angle_pid2.i_max, angle_pid2.i_max);
          angle_pid2.d_out  = angle_pid2.kd * (angle_pid2.err[0] - angle_pid2.err[1]);
          float pid_spd2    = angle_pid2.p_out + angle_pid2.i_out + angle_pid2.d_out;
          LIMIT_MIN_MAX(pid_spd2, -angle_pid2.out_max, angle_pid2.out_max);

          float spd_err2    = pid_spd2 - filtered_spd2;
          speed_pid2.err[1] = speed_pid2.err[0];
          speed_pid2.err[0] = spd_err2;
          speed_pid2.p_out  = speed_pid2.kp * speed_pid2.err[0];
          speed_pid2.i_out += speed_pid2.ki * speed_pid2.err[0];
          LIMIT_MIN_MAX(speed_pid2.i_out, -speed_pid2.i_max, speed_pid2.i_max);
          speed_pid2.d_out  = speed_pid2.kd * (speed_pid2.err[0] - speed_pid2.err[1]);
          dbg_voltage2      = speed_pid2.p_out + speed_pid2.i_out + speed_pid2.d_out;
          LIMIT_MIN_MAX(dbg_voltage2, -speed_pid2.out_max, speed_pid2.out_max);
        }

        /* ---- ID4 PID（编码器闭环）---- */
        {
          dbg_err4          = angle_err_calc(-prof_pos, dbg_angle4);
          angle_pid4.err[1] = angle_pid4.err[0];
          angle_pid4.err[0] = dbg_err4;
          angle_pid4.p_out  = angle_pid4.kp * angle_pid4.err[0];
          angle_pid4.i_out += angle_pid4.ki * angle_pid4.err[0];
          LIMIT_MIN_MAX(angle_pid4.i_out, -angle_pid4.i_max, angle_pid4.i_max);
          angle_pid4.d_out  = angle_pid4.kd * (angle_pid4.err[0] - angle_pid4.err[1]);
          float pid_spd4    = angle_pid4.p_out + angle_pid4.i_out + angle_pid4.d_out;
          LIMIT_MIN_MAX(pid_spd4, -angle_pid4.out_max, angle_pid4.out_max);

          float spd_err4    = pid_spd4 - filtered_spd4;
          speed_pid4.err[1] = speed_pid4.err[0];
          speed_pid4.err[0] = spd_err4;
          speed_pid4.p_out  = speed_pid4.kp * speed_pid4.err[0];
          speed_pid4.i_out += speed_pid4.ki * speed_pid4.err[0];
          LIMIT_MIN_MAX(speed_pid4.i_out, -speed_pid4.i_max, speed_pid4.i_max);
          speed_pid4.d_out  = speed_pid4.kd * (speed_pid4.err[0] - speed_pid4.err[1]);
          dbg_voltage4      = speed_pid4.p_out + speed_pid4.i_out + speed_pid4.d_out;
          LIMIT_MIN_MAX(dbg_voltage4, -speed_pid4.out_max, speed_pid4.out_max);
        }
      }
      else /* STATE_SCAN */
      {
        /* ---- STATE_SCAN：正弦扫描 -------------------------------------- */
        scan_phase += dt;
        float omega    = 2.0f * (float)M_PI * SCAN_FREQ;
        prof_pos       = SCAN_AMP * sinf(omega * scan_phase);
        float ff_deg_s = SCAN_AMP * omega * cosf(omega * scan_phase);
        dbg_spd_ff     = ff_deg_s * SPEED_FF_GAIN;

        dbg_prof = prof_pos;

        /* ---- ID2 PID ---- */
        {
          dbg_err2          = angle_err_calc(-prof_pos, dbg_angle2);
          angle_pid2.err[1] = angle_pid2.err[0];
          angle_pid2.err[0] = dbg_err2;
          angle_pid2.p_out  = angle_pid2.kp * angle_pid2.err[0];
          angle_pid2.i_out += angle_pid2.ki * angle_pid2.err[0];
          LIMIT_MIN_MAX(angle_pid2.i_out, -angle_pid2.i_max, angle_pid2.i_max);
          angle_pid2.d_out  = angle_pid2.kd * (angle_pid2.err[0] - angle_pid2.err[1]);
          float pid_spd2    = angle_pid2.p_out + angle_pid2.i_out + angle_pid2.d_out;

          float spd_target2 = pid_spd2 + dbg_spd_ff;
          LIMIT_MIN_MAX(spd_target2, -angle_pid2.out_max, angle_pid2.out_max);

          float spd_err2    = spd_target2 - filtered_spd2;
          speed_pid2.err[1] = speed_pid2.err[0];
          speed_pid2.err[0] = spd_err2;
          speed_pid2.p_out  = speed_pid2.kp * speed_pid2.err[0];
          speed_pid2.i_out += speed_pid2.ki * speed_pid2.err[0];
          LIMIT_MIN_MAX(speed_pid2.i_out, -speed_pid2.i_max, speed_pid2.i_max);
          speed_pid2.d_out  = speed_pid2.kd * (speed_pid2.err[0] - speed_pid2.err[1]);
          dbg_voltage2      = speed_pid2.p_out + speed_pid2.i_out + speed_pid2.d_out;
          LIMIT_MIN_MAX(dbg_voltage2, -speed_pid2.out_max, speed_pid2.out_max);
        }

        /* ---- ID4 PID ---- */
        {
          dbg_err4          = angle_err_calc(-prof_pos, dbg_angle4);
          angle_pid4.err[1] = angle_pid4.err[0];
          angle_pid4.err[0] = dbg_err4;
          angle_pid4.p_out  = angle_pid4.kp * angle_pid4.err[0];
          angle_pid4.i_out += angle_pid4.ki * angle_pid4.err[0];
          LIMIT_MIN_MAX(angle_pid4.i_out, -angle_pid4.i_max, angle_pid4.i_max);
          angle_pid4.d_out  = angle_pid4.kd * (angle_pid4.err[0] - angle_pid4.err[1]);
          float pid_spd4    = angle_pid4.p_out + angle_pid4.i_out + angle_pid4.d_out;

          float spd_target4 = pid_spd4 + dbg_spd_ff;
          LIMIT_MIN_MAX(spd_target4, -angle_pid4.out_max, angle_pid4.out_max);

          float spd_err4    = spd_target4 - filtered_spd4;
          speed_pid4.err[1] = speed_pid4.err[0];
          speed_pid4.err[0] = spd_err4;
          speed_pid4.p_out  = speed_pid4.kp * speed_pid4.err[0];
          speed_pid4.i_out += speed_pid4.ki * speed_pid4.err[0];
          LIMIT_MIN_MAX(speed_pid4.i_out, -speed_pid4.i_max, speed_pid4.i_max);
          speed_pid4.d_out  = speed_pid4.kd * (speed_pid4.err[0] - speed_pid4.err[1]);
          dbg_voltage4      = speed_pid4.p_out + speed_pid4.i_out + speed_pid4.d_out;
          LIMIT_MIN_MAX(dbg_voltage4, -speed_pid4.out_max, speed_pid4.out_max);
        }
      }

      set_motor_voltage(0,
                        0,
                        (int16_t)dbg_voltage2,
                        0,
                        (int16_t)dbg_voltage4);
#endif

    } /* end if (tick >= 10) */

  } /* end while(1) */
  /* USER CODE END 3 */
}

void SystemClock_Config(void)
{
  RCC_OscInitTypeDef RCC_OscInitStruct = {0};
  RCC_ClkInitTypeDef RCC_ClkInitStruct = {0};

  __HAL_RCC_PWR_CLK_ENABLE();
  __HAL_PWR_VOLTAGESCALING_CONFIG(PWR_REGULATOR_VOLTAGE_SCALE1);

  RCC_OscInitStruct.OscillatorType      = RCC_OSCILLATORTYPE_HSI;
  RCC_OscInitStruct.HSIState            = RCC_HSI_ON;
  RCC_OscInitStruct.HSICalibrationValue = RCC_HSICALIBRATION_DEFAULT;
  RCC_OscInitStruct.PLL.PLLState        = RCC_PLL_ON;
  RCC_OscInitStruct.PLL.PLLSource       = RCC_PLLSOURCE_HSI;
  RCC_OscInitStruct.PLL.PLLM           = 8;
  RCC_OscInitStruct.PLL.PLLN           = 168;
  RCC_OscInitStruct.PLL.PLLP           = RCC_PLLP_DIV2;
  RCC_OscInitStruct.PLL.PLLQ           = 4;
  if (HAL_RCC_OscConfig(&RCC_OscInitStruct) != HAL_OK)
  {
    Error_Handler();
  }

  RCC_ClkInitStruct.ClockType      = RCC_CLOCKTYPE_HCLK | RCC_CLOCKTYPE_SYSCLK
                                   | RCC_CLOCKTYPE_PCLK1 | RCC_CLOCKTYPE_PCLK2;
  RCC_ClkInitStruct.SYSCLKSource   = RCC_SYSCLKSOURCE_PLLCLK;
  RCC_ClkInitStruct.AHBCLKDivider  = RCC_SYSCLK_DIV1;
  RCC_ClkInitStruct.APB1CLKDivider = RCC_HCLK_DIV4;
  RCC_ClkInitStruct.APB2CLKDivider = RCC_HCLK_DIV2;

  if (HAL_RCC_ClockConfig(&RCC_ClkInitStruct, FLASH_LATENCY_5) != HAL_OK)
  {
    Error_Handler();
  }
}

void Error_Handler(void)
{
  __disable_irq();
  while (1) {}
}
